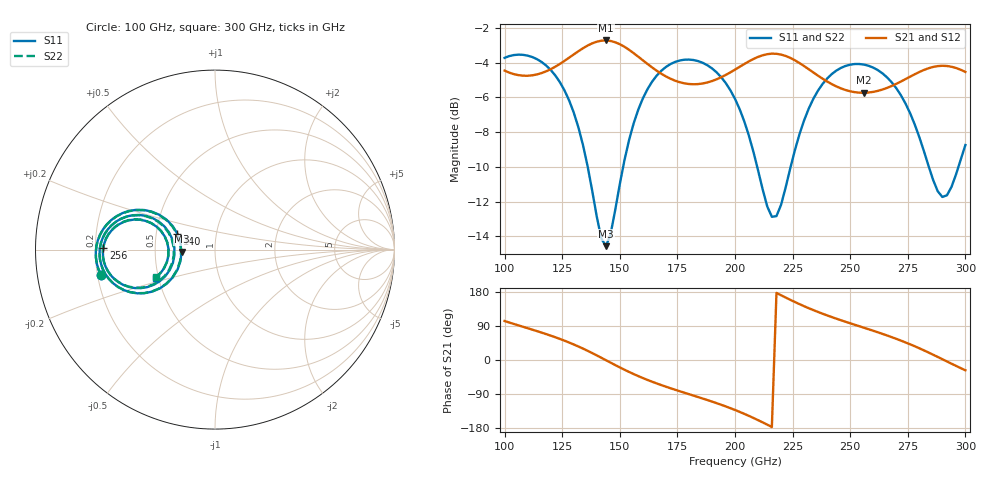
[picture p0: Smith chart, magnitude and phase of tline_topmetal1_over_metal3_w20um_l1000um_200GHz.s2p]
#  GHZ S DB R 50
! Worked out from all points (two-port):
!   101 points, 100 GHz to 300 GHz, reference 50 ohm
!   highest |S21| = -2.73 dB at 144 GHz (marker M1); lowest = -5.7 dB at 256 GHz (marker M2)
!   |S21| within 3 dB of the highest: start of sweep to 253.5 GHz; 257.7 GHz to end of sweep
!   lowest |S11| = -14.6 dB at 144 GHz (marker M3), VSWR 1.46, Z = 34.3 - j0.853 ohm
!   |S11| at or under -10 dB: 136.1 GHz to 151.5 GHz (15.4 GHz wide, 10.7 % of centre); 209.6 GHz to 224.2 GHz (14.53 GHz wide, 6.7 % of centre); 284.1 GHz to 297 GHz (12.85 GHz wide, 4.42 % of centre)
!   |S22| runs from -14.5 to -3.5 dB; largest |S21 - S12| = 8.4e-14
!   S11 on the Smith chart (normalised r, x): 100 GHz: 0.21, -0.11; 140 GHz: 0.64, +0.12; 256 GHz: 0.23, +0.01; 300 GHz: 0.48, -0.17
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100  -3.73 -167.4  -4.46 102.8  -4.46 102.8  -3.73 -167.4
116  -3.96 169.7  -4.61 72.4  -4.61 72.4  -3.96 169.8
126  -5.60 155.7  -3.90 51.0  -3.90 51.0  -5.60 155.9
134  -8.74 148.0  -3.18 30.2  -3.18 30.2  -8.72 148.3
140  -12.87 157.1  -2.80 12.2  -2.80 12.2  -12.80 157.5
144  -14.57 -176.3  -2.73 -0.6  -2.73 -0.6  -14.46 -176.2
150  -11.00 -146.6  -2.94 -19.5  -2.94 -19.5  -10.94 -146.9
156  -7.51 -146.2  -3.46 -37.1  -3.46 -37.1  -7.49 -146.4
168  -4.47 -161.7  -4.64 -66.2  -4.64 -66.2  -4.47 -161.7
184  -3.92 176.9  -5.24 -97.8  -5.24 -97.8  -3.91 177.0
200  -6.09 157.3  -4.41 -131.9  -4.41 -131.9  -6.07 157.5
208  -9.14 153.5  -3.79 -152.9  -3.79 -152.9  -9.09 153.9
216  -12.88 176.7  -3.49 -176.8  -3.49 -176.8  -12.74 176.8
220  -12.19 -162.6  -3.54 170.9  -3.54 170.9  -12.07 -162.9
226  -9.04 -150.3  -3.87 153.0  -3.87 153.0  -8.99 -150.7
234  -6.09 -154.4  -4.57 131.7  -4.57 131.7  -6.07 -154.8
246  -4.31 -168.7  -5.49 104.9  -5.49 104.9  -4.30 -169.0
256  -4.12 179.1  -5.74 85.1  -5.74 85.1  -4.11 178.9
268  -5.13 165.3  -5.35 60.4  -5.35 60.4  -5.13 165.1
278  -7.56 157.5  -4.67 36.3  -4.67 36.3  -7.55 157.4
290  -11.74 179.3  -4.18 2.1  -4.18 2.1  -11.72 179.2
300  -8.75 -154.8  -4.54 -27.2  -4.54 -27.2  -8.74 -155.0
